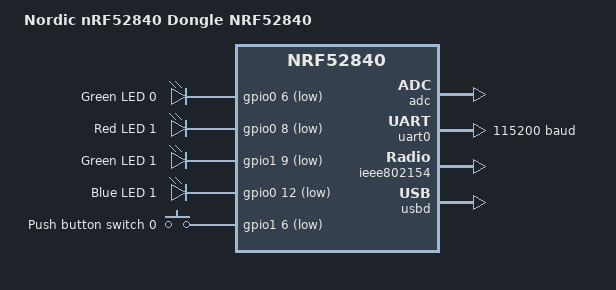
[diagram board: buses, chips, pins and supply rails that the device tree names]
/*
 * Copyright (c) 2018 Nordic Semiconductor ASA
 * Copyright (c) 2017 Linaro Limited
 *
 * SPDX-License-Identifier: Apache-2.0
 */

/dts-v1/;
#include <nordic/nrf52840_qiaa.dtsi>
#include "nrf52840dongle_nrf52840-pinctrl.dtsi"

/ {
	model = "Nordic nRF52840 Dongle NRF52840";
	compatible = "nordic,nrf52840-dongle-nrf52840";

	chosen {
		zephyr,console = &uart0;
		zephyr,shell-uart = &uart0;
		zephyr,uart-mcumgr = &uart0;
		zephyr,bt-mon-uart = &uart0;
		zephyr,bt-c2h-uart = &uart0;
		zephyr,sram = &sram0;
		zephyr,flash = &flash0;
		zephyr,code-partition = &slot0_partition;
		zephyr,ieee802154 = &ieee802154;
	};

	leds {
		compatible = "gpio-leds";
		led0_green: led_0 {
			gpios = <&gpio0 6 GPIO_ACTIVE_LOW>;
			label = "Green LED 0";
		};
		led1_red: led_1 {
			gpios = <&gpio0 8 GPIO_ACTIVE_LOW>;
			label = "Red LED 1";
		};
		led1_green: led_2 {
			gpios = <&gpio1 9 GPIO_ACTIVE_LOW>;
			label = "Green LED 1";
		};
		led1_blue: led_3 {
			gpios = <&gpio0 12 GPIO_ACTIVE_LOW>;
			label = "Blue LED 1";
		};
	};

	buttons {
		compatible = "gpio-keys";
		button0: button_0 {
			gpios = <&gpio1 6 (GPIO_PULL_UP | GPIO_ACTIVE_LOW)>;
			label = "Push button switch 0";
		};
	};

	/* These aliases are provided for compatibility with samples */
	aliases {
		sw0 = &button0;
		led0 = &led0_green;
		led1 = &led1_red;
		led2 = &led1_green;
		led3 = &led1_blue;
		led0-green = &led0_green;
		led1-red   = &led1_red;
		led1-green = &led1_green;
		led1-blue  = &led1_blue;
		pwm-led0 = &red_pwm_led;
		pwm-led1 = &green_pwm_led;
		pwm-led2 = &blue_pwm_led;
		red-pwm-led = &red_pwm_led;
		green-pwm-led = &green_pwm_led;
		blue-pwm-led = &blue_pwm_led;
		mcuboot-button0 = &button0;
		mcuboot-led0 = &led0_green;
		watchdog0 = &wdt0;
	};
};

&adc {
	status = "okay";
};

&gpiote {
	status = "okay";
};

&gpio0 {
	status = "okay";
};

&gpio1 {
	status = "okay";
};

&uart0 {
	compatible = "nordic,nrf-uarte";
	status = "okay";
	current-speed = <115200>;
	pinctrl-0 = <&uart0_default>;
	pinctrl-1 = <&uart0_sleep>;
	pinctrl-names = "default", "sleep";
};

&ieee802154 {
	status = "okay";
};

/* Include flash partition table.
 * Two partition tables are available:
 * fstab-stock		-compatible with Nordic nRF5 bootloader, default
 * fstab-debugger	-to use an external debugger, w/o the nRF5 bootloader
 */
 &flash0 {

	partitions {
		compatible = "fixed-partitions";
		#address-cells = <1>;
		#size-cells = <1>;

		boot_partition: partition@0 {
			label = "mcuboot";
			reg = <0x00000000 0x0000C000>;
		};
		slot0_partition: partition@c000 {
			label = "image-0";
			reg = <0x0000C000 0x00067000>;
		};
		slot1_partition: partition@73000 {
			label = "image-1";
			reg = <0x00073000 0x00067000>;
		};
		scratch_partition: partition@da000 {
			label = "image-scratch";
			reg = <0x000da000 0x0001e000>;
		};

		/*
		 * The flash starting at 0x000f8000 and ending at
		 * 0x000fffff is reserved for use by the application.
		 */

		/*
		 * Storage partition will be used by FCB/LittleFS/NVS
		 * if enabled.
		 */
		storage_partition: partition@f8000 {
			label = "storage";
			reg = <0x000f8000 0x00008000>;
		};
	};
};

zephyr_udc0: &usbd {
	compatible = "nordic,nrf-usbd";
	status = "okay";
};
